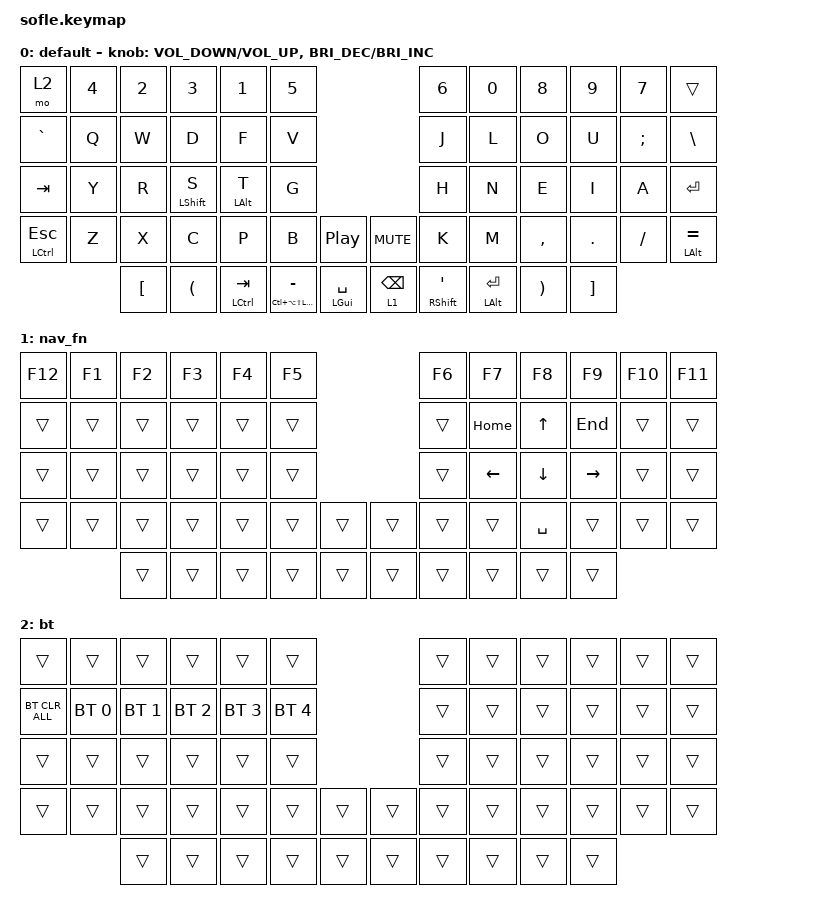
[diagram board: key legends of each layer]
/*
 * Copyright (c) 2020 The ZMK Contributors
 *
 * SPDX-License-Identifier: MIT
 */

#include <behaviors.dtsi>
#include <dt-bindings/zmk/bt.h>
#include <dt-bindings/zmk/keys.h>

#define BASE 0
#define LOWER 1
#define RAISE 2
#define ADJUST 3

&mt {
    tapping-term-ms = <200>;
    flavor = "tap-preferred";
};

&lt {
    tapping-term-ms = <200>;
    flavor = "tap-preferred";
};

/ {
    // Activate ADJUST layer by pressing raise and lower

    conditional_layers { compatible = "zmk,conditional-layers"; };

    behaviors {
        mt_400: mt_400 {
            compatible = "zmk,behavior-hold-tap";
            label = "MT_400";
            bindings = <&kp>, <&kp>;

            #binding-cells = <2>;
            tapping-term-ms = <400>;
            flavor = "tap-preferred";
        };

        lt_400: lt_400 {
            compatible = "zmk,behavior-hold-tap";
            label = "LT_400";
            bindings = <&mo>, <&kp>;

            #binding-cells = <2>;
            tapping-term-ms = <400>;
        };
    };

    keymap {
        compatible = "zmk,keymap";

        base {
            label = "default";

            // ------------------------------------------------------------------------------------------------------------
            // |   `   |  1  |  2  |  3   |  4   |  5   |                   |  6   |  7    |  8    |  9   |   0   |       |
            // |  ESC  |  Q  |  W  |  E   |  R   |  T   |                   |  Y   |  U    |  I    |  O   |   P   | BKSPC |
            // |  TAB  |  A  |  S  |  D   |  F   |  G   |                   |  H   |  J    |  K    |  L   |   ;   |   '   |
            // | SHIFT |  Z  |  X  |  C   |  V   |  B   |  MUTE  |  |       |  N   |  M    |  ,    |  .   |   /   | SHIFT |
            //               | GUI | ALT  | CTRL | LOWER|  ENTER |  | SPACE | RAISE| CTRL  | ALT   | GUI  |

            bindings = <
&mo 2                    &kp N4  &kp N2            &kp N3                &kp N1                &kp N5                                                                 &kp N6               &kp N0              &kp N8                 &kp N9             &kp N7         &trans
&kp GRAVE                &kp Q   &kp W             &kp D                 &kp F                 &kp V                                                                  &kp J                &kp L               &kp O                  &kp U              &kp SEMICOLON  &kp BACKSLASH
&kp TAB                  &kp Y   &kp R             &mt LEFT_SHIFT S      &mt LEFT_ALT T        &kp G                                                                  &kp H                &kp N               &kp E                  &kp I              &kp A          &kp ENTER
&mt LEFT_CONTROL ESCAPE  &kp Z   &kp X             &kp C                 &kp P                 &kp B                           &kp C_PLAY_PAUSE      &kp C_MUTE       &kp K                &kp M               &kp COMMA              &kp PERIOD         &kp SLASH      &mt LEFT_ALT EQUAL
                                 &kp LEFT_BRACKET  &kp LEFT_PARENTHESIS  &mt LEFT_CONTROL TAB  &mt LC(LA(LS(LEFT_GUI))) MINUS  &mt LEFT_GUI SPACE    &lt 1 BACKSPACE  &mt RIGHT_SHIFT SQT  &mt LEFT_ALT ENTER  &kp RIGHT_PARENTHESIS  &kp RIGHT_BRACKET
            >;

            sensor-bindings =
                <&inc_dec_kp C_VOLUME_DOWN C_VOLUME_UP>,
                <&inc_dec_kp C_BRIGHTNESS_DEC C_BRIGHTNESS_INC>;
        };

        nav_fn {
            bindings = <
&kp F12  &kp F1  &kp F2  &kp F3  &kp F4  &kp F5                    &kp F6  &kp F7    &kp F8     &kp F9     &kp F10  &kp F11
&trans   &trans  &trans  &trans  &trans  &trans                    &trans  &kp HOME  &kp UP     &kp END    &trans   &trans
&trans   &trans  &trans  &trans  &trans  &trans                    &trans  &kp LEFT  &kp DOWN   &kp RIGHT  &trans   &trans
&trans   &trans  &trans  &trans  &trans  &trans  &trans    &trans  &trans  &trans    &kp SPACE  &trans     &trans   &trans
                 &trans  &trans  &trans  &trans  &trans    &trans  &trans  &trans    &trans     &trans
            >;
        };

        bt {
            bindings = <
&trans          &trans        &trans        &trans        &trans        &trans                          &trans  &trans  &trans  &trans  &trans  &trans
&bt BT_CLR_ALL  &bt BT_SEL 0  &bt BT_SEL 1  &bt BT_SEL 2  &bt BT_SEL 3  &bt BT_SEL 4                    &trans  &trans  &trans  &trans  &trans  &trans
&trans          &trans        &trans        &trans        &trans        &trans                          &trans  &trans  &trans  &trans  &trans  &trans
&trans          &trans        &trans        &trans        &trans        &trans        &trans    &trans  &trans  &trans  &trans  &trans  &trans  &trans
                              &trans        &trans        &trans        &trans        &trans    &trans  &trans  &trans  &trans  &trans
            >;
        };
    };
};
